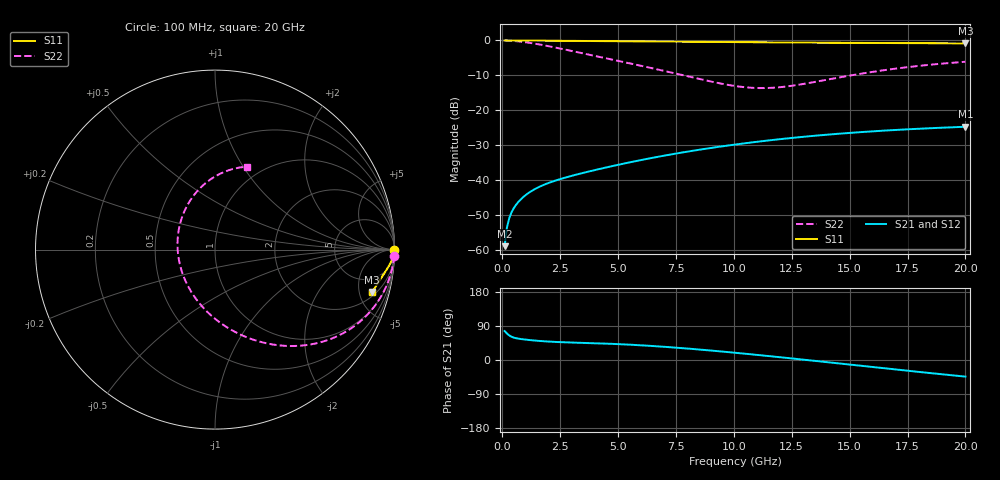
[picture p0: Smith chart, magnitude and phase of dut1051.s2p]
! Touchstone file exported from HFSS 2024.1.0
!  File:  C:/UserFiles/LocalFiles/RDL_TSV_Batchsim/temp_RDL_TSV_1051_1780088636.aedt
!  Generated:  05:19:24 AM May 30, 2026
!  Design:  RDL_TSV
!  Project:  temp_RDL_TSV_1051_1780088636
!  Setup:  Setup1
!  Solution:  Sweep
! Variables:
!  dtsv = 8.05um
!  hbump = 3um
!  htsv = 60.02um
!  ldown = 385.79um
!  lrdl = 192.45um
!  p = 40
!  p1 = 49.05um
!  rhole = 10um
!  subl = 1927.17um
!  t = 450um
!  tdown = 4.71um
!  trdl = 4.48um
!  viad = 10um
!  wdown = 26.24um
!  wrdl = 14.77um
!  xbump = 18um
# GHz S MA R 50.000000
! Terminal data exported
! Port[1] = TM1_1_T1
! Port[2] = TM1_4_T1
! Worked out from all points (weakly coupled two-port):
!   200 points, 100 MHz to 20 GHz, reference 50 ohm
!   highest |S21| = -24.76 dB at 20 GHz (marker M1); lowest = -59.0 dB at 100 MHz (marker M2)
!   lowest |S11| = -0.8 dB at 20 GHz (marker M3), VSWR 20.62, Z = 124 - j332 ohm
!   |S11| at or under -10 dB: nowhere
!   |S22| runs from -13.7 to 0.0 dB; largest |S21 - S12| = 6.2e-15
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0.1  0.9999 -0.2  0.001121 76.5  0.001121 76.5  0.9988 -2.1
! Gamma 0 0 0 0
! Port Impedance 50 0 50 0
0.2  0.9997 -0.3  0.002074 70.0  0.002074 70.0  0.9963 -4.2
0.3  0.9994 -0.4  0.002831 64.8  0.002831 64.8  0.9925 -6.2
0.4  0.9991 -0.6  0.00344 61.3  0.00344 61.3  0.9877 -8.2
0.5  0.9988 -0.7  0.003958 59.0  0.003958 59.0  0.9821 -10.2
0.7  0.9982 -1.0  0.004854 56.3  0.004854 56.3  0.9685 -14.1
0.9  0.9974 -1.2  0.00565 54.5  0.00565 54.5  0.9519 -17.9
1.4  0.9951 -1.8  0.007367 51.3  0.007367 51.3  0.9001 -26.7
2  0.9917 -2.5  0.009045 48.6  0.009045 48.6  0.8274 -36.2
2.7  0.9873 -3.3  0.01074 46.7  0.01074 46.7  0.7414 -45.7
3.5  0.9821 -4.1  0.01262 45.2  0.01262 45.2  0.6511 -55.2
5  0.9724 -5.4  0.01646 41.9  0.01646 41.9  0.5103 -71.3
6.8  0.9615 -6.8  0.02169 35.7  0.02169 35.7  0.3779 -91.4
8.4  0.9526 -8.0  0.02674 28.2  0.02674 28.2  0.2856 -113.8
10.1  0.944 -9.1  0.03228 18.9  0.03228 18.9  0.2209 -147.0
10.9  0.9402 -9.6  0.03489 14.1  0.03489 14.1  0.2085 -165.9
11.6  0.9371 -10.0  0.03714 9.8  0.03714 9.8  0.2089 177.0
13.4  0.9295 -11.1  0.0427 -1.6  0.0427 -1.6  0.2507 138.9
14.9  0.9238 -12.0  0.04693 -11.4  0.04693 -11.4  0.3091 116.0
16.7  0.9175 -13.1  0.0514 -23.2  0.0514 -23.2  0.3832 95.8
18.3  0.9125 -14.1  0.05477 -33.4  0.05477 -33.4  0.4427 81.6
20  0.9075 -15.1  0.05784 -43.9  0.05784 -43.9  0.4945 69.0
